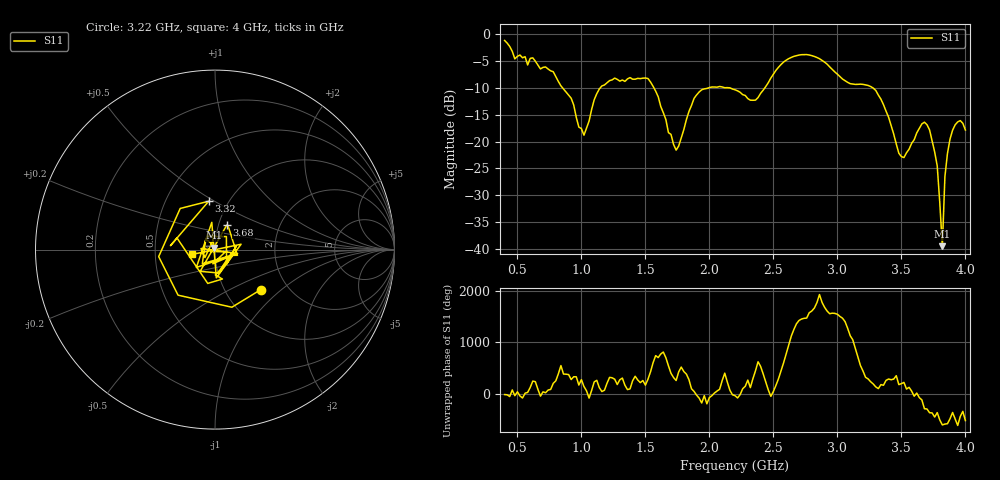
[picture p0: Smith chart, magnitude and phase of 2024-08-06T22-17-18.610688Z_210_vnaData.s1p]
!Created with skrf (http://scikit-rf.org).
# Hz S RI R 50.0
!freq ReS11 ImS11
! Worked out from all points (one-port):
!   181 points, 400 MHz to 4 GHz, reference 50 ohm
!   lowest |S11| = -39.5 dB at 3.82 GHz (marker M1), VSWR 1.02, Z = 49.7 + j1.01 ohm
!   |S11| at or under -10 dB: 854.1 MHz to 1.146 GHz (291.9 MHz wide, 29.2 % of centre); 1.567 GHz to 1.989 GHz (421.5 MHz wide, 23.7 % of centre); 3.28 GHz to end of sweep (the widest 3 of 4)
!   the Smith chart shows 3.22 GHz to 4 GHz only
!   S11 on the Smith chart (normalised r, x): 3.22 GHz: 1.46, -0.74; 3.32 GHz: 0.81, +0.47; 3.68 GHz: 1.10, +0.31; 4 GHz: 0.78, -0.04
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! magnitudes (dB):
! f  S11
! 400 MHz  -1.1
! 480 MHz  -4.6
! 620 MHz  -4.4
! 860 MHz  -10.2
! 1.02 GHz  -18.8
! 1.14 GHz  -10.2
! 1.3 GHz  -8.7
! 1.52 GHz  -8.2
! 1.74 GHz  -21.6
! 1.76 GHz  -20.8
! 1.92 GHz  -10.7
! 2.2 GHz  -10.3
! 2.36 GHz  -12.3
! 2.66 GHz  -4.1
! 2.86 GHz  -4.5
! 3.1 GHz  -9.2
! 3.22 GHz  -9.4
! 3.32 GHz  -11.3
! 3.48 GHz  -22.2
! 3.56 GHz  -21.4
! 3.68 GHz  -16.4
! 3.72 GHz  -17.8
! 3.78 GHz  -24.5
! 3.82 GHz  -39.5
! 3.84 GHz  -26.5
! 3.88 GHz  -19.5
! 3.94 GHz  -16.3
! 4 GHz  -17.8
